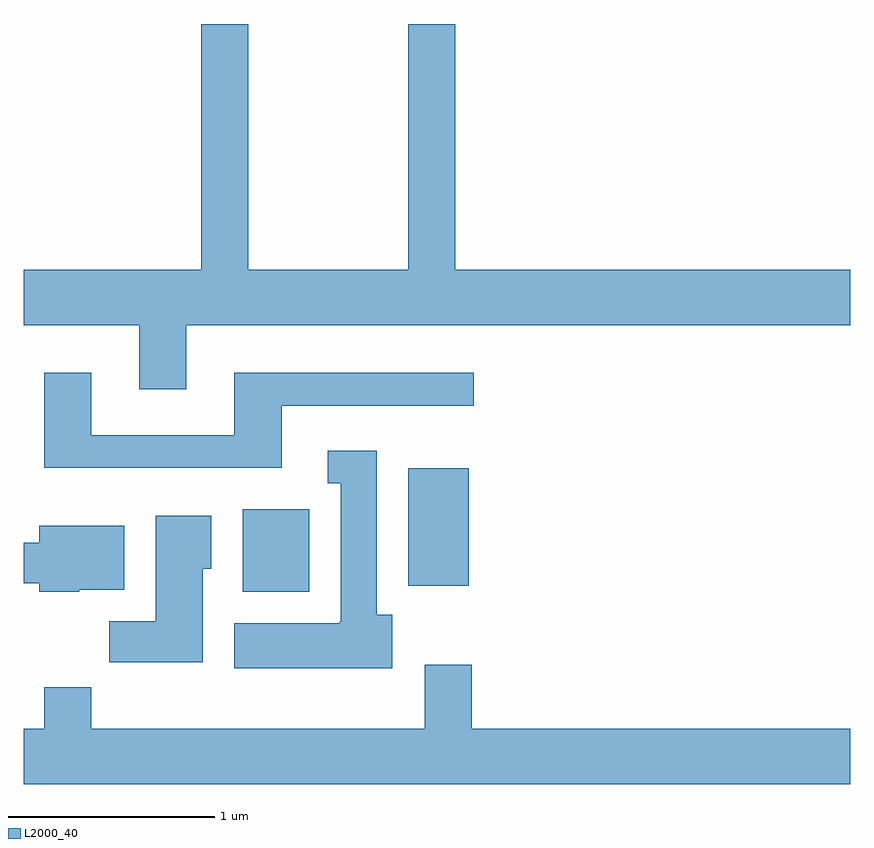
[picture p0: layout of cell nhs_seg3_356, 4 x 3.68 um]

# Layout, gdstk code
import gdstk
lib = gdstk.Library(unit=1e-6, precision=1e-09)
def R(c, l, rs):  # rectangles x0, y0, x1, y1
    for r in rs: c.add(gdstk.rectangle(r[:2], r[2:], *l))
def P(c, l, *ps):  # polygons
    for p in ps: c.add(gdstk.Polygon(p, *l))
L2000_40 = (2000, 40)

nhs_seg3_356 = lib.new_cell('nhs_seg3_356')
R(nhs_seg3_356, L2000_40, [(196.671,1149.146,196.994,1149.544), (197.471,1149.176,197.764,1149.744)])
P(nhs_seg3_356, L2000_40, [(196.399,1150.436),(199.611,1150.436),(199.611,1150.704),(197.699,1150.704),(197.699,1151.892),(197.471,1151.892),(197.471,1150.704),(196.699,1150.704),(196.699,1151.892),(196.471,1151.892),(196.471,1150.704),(195.611,1150.704),(195.611,1150.436),(196.171,1150.436),(196.171,1150.126),(196.399,1150.126)],
  [(196.859,1150.046),(197.788,1150.046),(197.788,1150.204),(196.631,1150.204),(196.631,1149.904),(195.939,1149.904),(195.939,1150.204),(195.711,1150.204),(195.711,1149.746),(196.859,1149.746)],
  [(197.394,1149.034),(197.319,1149.034),(197.319,1149.829),(197.083,1149.829),(197.083,1149.671),(197.146,1149.671),(197.146,1149),(197.14,1149),(197.14,1148.994),(196.631,1148.994),(196.631,1148.776),(197.394,1148.776)],
  [(196.479,1149.256),(196.519,1149.256),(196.519,1149.514),(196.251,1149.514),(196.251,1149.004),(196.026,1149.004),(196.026,1148.806),(196.479,1148.806)],
  [(195.88,1149.156),(196.099,1149.156),(196.099,1149.464),(195.686,1149.464),(195.686,1149.384),(195.611,1149.384),(195.611,1149.186),(195.686,1149.186),(195.686,1149.146),(195.88,1149.146)],
  [(199.611,1148.484),(197.779,1148.484),(197.779,1148.794),(197.551,1148.794),(197.551,1148.484),(195.939,1148.484),(195.939,1148.684),(195.711,1148.684),(195.711,1148.484),(195.611,1148.484),(195.611,1148.216),(199.611,1148.216)])

lib.write_gds('nhs_seg3_356.gds')
